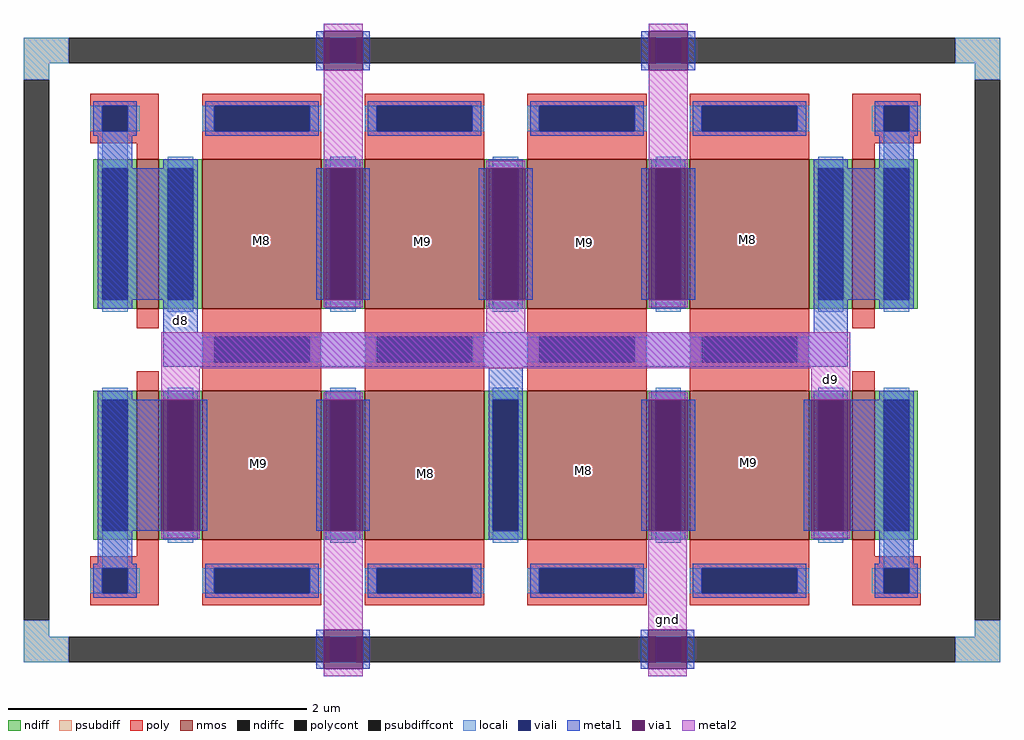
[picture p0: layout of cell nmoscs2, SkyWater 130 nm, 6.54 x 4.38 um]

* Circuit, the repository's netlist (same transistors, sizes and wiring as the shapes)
** sch_path: /home/jevon/opamp/mag/nmoscs2.sch
.subckt nmoscs2 D8 GND D9
*.PININFO D8:B GND:B D9:B
XM9 D9 D8 GND GND sky130_fd_pr__nfet_01v8 L=0.8 W=1 nf=1 m=4
XM8 D8 D8 GND GND sky130_fd_pr__nfet_01v8 L=0.8 W=1 nf=1 m=4
XM1 D8 D8 D8 GND sky130_fd_pr__nfet_01v8 L=0.15 W=1 nf=1 m=2
XM2 D9 D9 D9 GND sky130_fd_pr__nfet_01v8 L=0.15 W=1 nf=1 m=2
.ends
.end

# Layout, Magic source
magic
tech sky130A
magscale 1 2
<< psubdiff >>
rect -157 420 -97 454
rect 1092 420 1152 454
rect -157 398 -123 420
rect 1118 398 1152 420
rect -157 -349 -123 -327
rect 1118 -349 1152 -327
rect -157 -383 -97 -349
rect 1092 -383 1152 -349
<< psubdiffcont >>
rect -97 420 1092 454
rect -157 -327 -123 398
rect 1118 -327 1152 398
rect -97 -383 1092 -349
<< poly >>
rect -68 363 24 379
rect -68 329 -52 363
rect -18 329 24 363
rect -68 313 24 329
rect -6 291 24 313
rect 954 363 1046 379
rect 954 329 996 363
rect 1030 329 1046 363
rect 954 313 1046 329
rect 954 291 984 313
rect -6 -241 24 -219
rect -68 -257 24 -241
rect -68 -291 -52 -257
rect -18 -291 24 -257
rect -68 -307 24 -291
rect 954 -241 984 -219
rect 954 -257 1046 -241
rect 954 -291 996 -257
rect 1030 -291 1046 -257
rect 954 -307 1046 -291
<< polycont >>
rect -52 329 -18 363
rect 996 329 1030 363
rect -52 -291 -18 -257
rect 996 -291 1030 -257
<< locali >>
rect -157 420 -97 454
rect 1092 420 1152 454
rect -157 398 -123 420
rect 1118 398 1152 420
rect -68 329 -52 363
rect -18 329 -2 363
rect 980 329 996 363
rect 1030 329 1046 363
rect -52 291 -18 329
rect 996 291 1030 329
rect -52 -257 -18 -219
rect 996 -257 1030 -219
rect -68 -291 -52 -257
rect -18 -291 -2 -257
rect 980 -291 996 -257
rect 1030 -291 1046 -257
rect -157 -349 -123 -327
rect 1118 -349 1152 -327
rect -157 -383 -97 -349
rect 1092 -383 1152 -349
<< viali >>
rect 254 420 288 454
rect 690 420 724 454
rect -52 329 -18 363
rect 996 329 1030 363
rect -52 -291 -18 -257
rect 996 -291 1030 -257
rect 254 -383 288 -349
rect 690 -383 724 -349
<< metal1 >>
rect 235 411 245 463
rect 297 411 307 463
rect 671 411 681 463
rect 733 411 743 463
rect -64 363 -6 369
rect -64 329 -52 363
rect -18 329 -6 363
rect -64 323 -6 329
rect 984 363 1042 369
rect 984 329 996 363
rect 1030 329 1042 363
rect 984 323 1042 329
rect -58 291 -12 323
rect 990 291 1036 323
rect 990 279 1030 291
rect -52 103 70 279
rect 235 103 245 279
rect 297 103 307 279
rect 453 103 463 279
rect 515 103 525 279
rect 671 103 681 279
rect 733 103 743 279
rect 908 103 1030 279
rect 30 59 76 103
rect 902 59 948 103
rect 30 13 948 59
rect 466 -31 512 13
rect -52 -207 27 -31
rect 79 -207 89 -31
rect 235 -207 245 -31
rect 297 -207 307 -31
rect 671 -207 681 -31
rect 733 -207 743 -31
rect 889 -207 899 -31
rect 951 -207 1030 -31
rect -58 -251 -12 -219
rect 990 -251 1036 -219
rect -64 -257 -6 -251
rect -64 -291 -52 -257
rect -18 -291 -6 -257
rect -64 -297 -6 -291
rect 984 -257 1042 -251
rect 984 -291 996 -257
rect 1030 -291 1042 -257
rect 984 -297 1042 -291
rect 235 -392 245 -340
rect 297 -392 307 -340
rect 670 -392 680 -340
rect 732 -392 742 -340
<< via1 >>
rect 245 454 297 463
rect 245 420 254 454
rect 254 420 288 454
rect 288 420 297 454
rect 245 411 297 420
rect 681 454 733 463
rect 681 420 690 454
rect 690 420 724 454
rect 724 420 733 454
rect 681 411 733 420
rect 245 103 297 279
rect 463 103 515 279
rect 681 103 733 279
rect 27 -207 79 -31
rect 245 -207 297 -31
rect 681 -207 733 -31
rect 899 -207 951 -31
rect 245 -349 297 -340
rect 245 -383 254 -349
rect 254 -383 288 -349
rect 288 -383 297 -349
rect 245 -392 297 -383
rect 680 -349 732 -340
rect 680 -383 690 -349
rect 690 -383 724 -349
rect 724 -383 732 -349
rect 680 -392 732 -383
<< metal2 >>
rect 245 463 297 473
rect 245 279 297 411
rect 681 463 733 473
rect 245 93 297 103
rect 463 279 515 289
rect 463 59 515 103
rect 681 279 733 411
rect 681 93 733 103
rect 27 11 951 59
rect 27 -31 79 11
rect 27 -217 79 -207
rect 245 -31 297 -21
rect 245 -340 297 -207
rect 681 -31 733 -21
rect 681 -208 733 -207
rect 245 -402 297 -392
rect 680 -217 733 -208
rect 899 -31 951 11
rect 899 -217 951 -207
rect 680 -340 732 -217
rect 680 -402 732 -392
use sky130_fd_pr__nfet_01v8_6H9P4D  sky130_fd_pr__nfet_01v8_6H9P4D_0
transform 1 0 9 0 1 191
box -73 -126 73 126
use sky130_fd_pr__nfet_01v8_6H9P4D  sky130_fd_pr__nfet_01v8_6H9P4D_1
transform 1 0 969 0 1 191
box -73 -126 73 126
use sky130_fd_pr__nfet_01v8_6H9P4D  sky130_fd_pr__nfet_01v8_6H9P4D_2
transform 1 0 969 0 1 -119
box -73 -126 73 126
use sky130_fd_pr__nfet_01v8_6H9P4D  sky130_fd_pr__nfet_01v8_6H9P4D_3
transform 1 0 9 0 1 -119
box -73 -126 73 126
use sky130_fd_pr__nfet_01v8_6MBC9T  sky130_fd_pr__nfet_01v8_6MBC9T_0
transform 1 0 271 0 1 -119
box -247 -188 247 188
use sky130_fd_pr__nfet_01v8_6MBC9T  sky130_fd_pr__nfet_01v8_6MBC9T_1
transform 1 0 707 0 1 -119
box -247 -188 247 188
use sky130_fd_pr__nfet_01v8_6MBC9T  sky130_fd_pr__nfet_01v8_6MBC9T_2
transform 1 0 271 0 1 191
box -247 -188 247 188
use sky130_fd_pr__nfet_01v8_6MBC9T  sky130_fd_pr__nfet_01v8_6MBC9T_3
transform 1 0 707 0 1 191
box -247 -188 247 188
<< labels >>
flabel space 162 182 162 182 0 FreeSans 480 0 0 0 M8
flabel space 377 181 377 181 0 FreeSans 480 0 0 0 M9
flabel space 595 180 595 180 0 FreeSans 480 0 0 0 M9
flabel space 815 -115 815 -115 0 FreeSans 480 0 0 0 M9
flabel space 158 -117 158 -117 0 FreeSans 480 0 0 0 M9
flabel space 813 184 813 184 0 FreeSans 480 0 0 0 M8
flabel space 594 -126 594 -126 0 FreeSans 480 0 0 0 M8
flabel space 381 -130 381 -130 0 FreeSans 480 0 0 0 M8
flabel metal2 706 -326 706 -326 0 FreeSans 480 0 0 0 gnd
port 0 nsew
flabel metal1 53 75 53 75 0 FreeSans 480 0 0 0 d8
port 1 nsew
flabel metal2 925 -4 925 -4 0 FreeSans 480 0 0 0 d9
port 2 nsew
<< end >>

# cell sky130_fd_pr__nfet_01v8_6H9P4D: kit device sky130_fd_pr__nfet_01v8, w 1 l 0.150 m 1 nf 1 diffcov 100 polycov 100 guard 0 glc 1 grc 1 gtc 1 gbc 1 tbcov 100 rlcov 100 topc 0 botc 0 poverlap 0 doverlap 1 lmin 0.15 wmin 0.42 compatible {sky130_fd_pr__nfet_01v8 sky130_fd_pr__nfet_01v8_lvt sky130_fd_bs_flash__special_sonosfet_star sky130_fd_pr__nfet_g5v0d10v5 sky130_fd_pr__nfet_05v0_nvt sky130_fd_pr__nfet_03v3_nvt} full_metal 1 viasrc 100 viadrn 100 viagate 100 viagb 0 viagr 0 viagl 0 viagt 0

# cell sky130_fd_pr__nfet_01v8_6MBC9T: kit device sky130_fd_pr__nfet_01v8, w 1 l 0.8 m 1 nf 2 diffcov 100 polycov 100 guard 0 glc 1 grc 1 gtc 1 gbc 1 tbcov 100 rlcov 100 topc 1 botc 1 poverlap 0 doverlap 1 lmin 0.15 wmin 0.42 compatible {sky130_fd_pr__nfet_01v8 sky130_fd_pr__nfet_01v8_lvt sky130_fd_bs_flash__special_sonosfet_star sky130_fd_pr__nfet_g5v0d10v5 sky130_fd_pr__nfet_05v0_nvt sky130_fd_pr__nfet_03v3_nvt} full_metal 1 viasrc 100 viadrn 100 viagate 100 viagb 0 viagr 0 viagl 0 viagt 0
